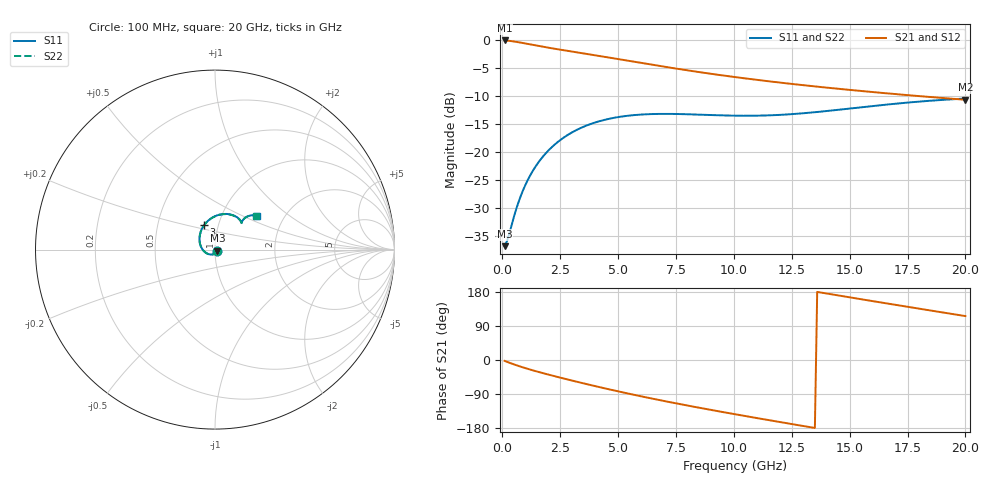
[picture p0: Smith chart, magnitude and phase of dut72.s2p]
! Touchstone file exported from HFSS 2023.1.0
!  File:  D:/Users/fzz/RDL_TSV/temp_RDL_TSV_72_1778746927.aedt
!  Generated:  4:30:39 %x4E0B%x5348  5%x6708 14, 2026
!  Design:  RDL_TSV
!  Project:  temp_RDL_TSV_72_1778746927
!  Setup:  Setup1
!  Solution:  Sweep
! Variables:
!  dtsv = 25.07um
!  hbump = 3um
!  htsv = 58.65um
!  ldown = 514.37um
!  lrdl = 422.31um
!  p = 40
!  p1 = 57.66um
!  rhole = 10um
!  subl = 3232.35um
!  t = 450um
!  tdown = 4.22um
!  trdl = 3.52um
!  viad = 10um
!  wdown = 18.43um
!  wrdl = 26.84um
!  xbump = 18um
# GHz S MA R 50.000000
! Terminal data exported
! Port[1] = TM1_1_T1
! Port[2] = TM1_4_T1
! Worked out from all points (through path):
!   200 points, 100 MHz to 20 GHz, reference 50 ohm
!   highest |S21| = -0.13 dB at 100 MHz (marker M1); lowest = -10.7 dB at 20 GHz (marker M2)
!   group delay of S21, straight-line fit = 32.2 ps
!   lowest |S11| = -36.8 dB at 100 MHz (marker M3), VSWR 1.03, Z = 51.3 - j0.644 ohm
!   |S11| at or under -10 dB: start of sweep to end of sweep
!   |S22| runs from -36.8 to -10.5 dB; largest |S21 - S12| = 4.2e-14
!   S11 on the Smith chart (normalised r, x): 100 MHz: 1.03, -0.01; 3 GHz: 0.85, +0.24; 20 GHz: 1.46, +0.60
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0.1  0.01442 -25.8  0.9852 -2.4  0.9852 -2.4  0.01442 -25.8
! Gamma 0 0 0 0
! Port Impedance 50 0 50 0
0.2  0.01593 -50.4  0.9821 -4.8  0.9821 -4.8  0.01594 -50.4
0.6  0.03077 -117.9  0.9579 -13.6  0.9579 -13.6  0.03078 -117.9
0.8  0.04055 -139.1  0.9421 -17.7  0.9421 -17.7  0.04053 -139.0
1  0.05085 -156.4  0.9254 -21.6  0.9254 -21.6  0.0508 -156.2
1.3  0.06674 -177.5  0.9005 -27.0  0.9005 -27.0  0.06661 -177.4
1.6  0.08266 165.4  0.877 -32.1  0.877 -32.1  0.08244 165.5
2  0.1033 147.0  0.8482 -38.7  0.8482 -38.7  0.1029 147.1
2.5  0.1273 128.9  0.8155 -46.5  0.8155 -46.5  0.1268 128.9
3  0.1487 114.4  0.785 -54.1  0.785 -54.1  0.148 114.4
3.5  0.1672 102.4  0.7557 -61.5  0.7557 -61.5  0.1663 102.5
4.2  0.1878 88.8  0.7159 -71.6  0.7159 -71.6  0.1868 88.8
5  0.2042 76.4  0.6722 -82.7  0.6722 -82.7  0.203 76.4
5.9  0.2144 65.5  0.6258 -94.6  0.6258 -94.6  0.2131 65.5
6.8  0.218 57.4  0.5833 -105.9  0.5833 -105.9  0.2167 57.4
8.4  0.2151 48.4  0.5183 -124.8  0.5183 -124.8  0.2137 48.4
10.1  0.2102 45.0  0.463 -143.7  0.463 -143.7  0.2088 45.1
11.7  0.2123 45.3  0.4214 -160.7  0.4214 -160.7  0.211 45.4
13.4  0.2247 46.5  0.3853 -178.3  0.3853 -178.3  0.2234 46.6
16.7  0.2653 45.0  0.3313 148.3  0.3313 148.3  0.264 45.0
18.3  0.2839 42.4  0.3106 132.5  0.3106 132.5  0.2825 42.4
20  0.2988 39.0  0.2916 115.9  0.2916 115.9  0.2974 39.0
